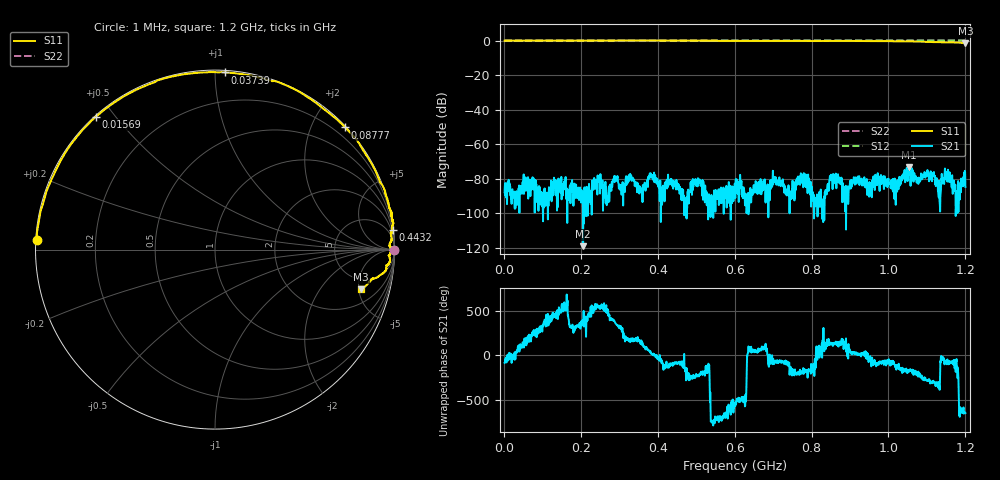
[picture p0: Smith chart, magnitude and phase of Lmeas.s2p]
! Anritsu VNA Master:  Model: MS2025B
! SN:  1642059
! /bd0/PROE/TP1/P2/Lmeas.s2p
! Existing Calibration Information:
! TYPE:  Current Settings,  Active Cal Settings
! TIME:  04/23/2024 08:38:57 AM,  03/12/2018 11:45:53 AM
! INTERNAL TEMP:  42.8 C,  40.8 C
! # POINTS:  1715,  4001
! START FREQ:  1.000 MHz,  1.000 MHz
! STOP FREQ:  1.200 371 500 GHz,  2.800 GHz
! SOURCE POWER:  Default,  Default
! IFBW:  1 kHz,  1 kHz
! AVG FACTOR:  1 ,  1
! REF PLANE 1:  0 mm,  0 mm
! REF PLANE 2:  0 mm,  0 mm
! CAL TYPE:  1P2P S11,S21,  1P2P S11,S21
! CAL METHOD:  SOLT,  SOLT
! CAL LINE TYPE:  Coax,  Coax
! DUT PORT 1:  ,
! DUT PORT 2:  N-Conn(M),  N-Conn(M)
! CAL STATUS:  OK: Accuracy High,  --
# GHZ S MA R 50.0
! FREQ.GHZ  S11M  S11A  S21M  S21A  S12M  S12A  S22M  S22A
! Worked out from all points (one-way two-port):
!   1715 points, 1 MHz to 1.2 GHz, reference 50 ohm
!   highest |S21| = -73.13 dB at 1.053 GHz (marker M1); lowest = -119.1 dB at 205.3 MHz (marker M2)
!   lowest |S11| = -1.5 dB at 1.2 GHz (marker M3), VSWR 11.71, Z = 174 - j264 ohm
!   |S11| at or under -10 dB: nowhere
!   |S22| runs from 0.0 to 0.0 dB; largest |S21 - S12| = 1
!   S11 on the Smith chart (normalised r, x): 1 MHz: 0.00, +0.03; 15.69 MHz: 0.00, +0.45; 37.39 MHz: 0.01, +1.06; 87.77 MHz: 0.02, +2.53; 443.2 MHz: 1, +18; 1.2 GHz: 3.47, -5.28
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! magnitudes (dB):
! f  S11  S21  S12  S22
! 1 MHz  0.0  -87.9  0.0  0.0
! 15.69 MHz  0.0  -84.5  0.0  0.0
! 37.39 MHz  -0.1  -85.5  0.0  0.0
! 87.77 MHz  0.0  -85.1  0.0  0.0
! 201.1 MHz  0.0  -86.5  0.0  0.0
! 205.3 MHz  0.0  -119.1  0.0  0.0
! 368.4 MHz  0.0  -85.7  0.0  0.0
! 384.5 MHz  0.0  -77.9  0.0  0.0
! 401.3 MHz  0.0  -82.5  0.0  0.0
! 443.2 MHz  0.0  -81.5  0.0  0.0
! 600.7 MHz  -0.2  -83.8  0.0  0.0
! 800.8 MHz  -0.3  -89.8  0.0  0.0
! 853.3 MHz  -0.2  -80.4  0.0  0.0
! 1.001 GHz  -0.4  -82.6  0.0  0.0
! 1.03 GHz  -0.4  -81.0  0.0  0.0
! 1.053 GHz  -0.4  -73.1  0.0  0.0
! 1.078 GHz  -0.6  -83.0  0.0  0.0
! 1.099 GHz  -0.7  -76.4  0.0  0.0
! 1.128 GHz  -1.0  -83.9  0.0  0.0
! 1.151 GHz  -1.0  -76.7  0.0  0.0
! 1.172 GHz  -1.1  -87.0  0.0  0.0
! 1.2 GHz  -1.5  -84.8  0.0  0.0
